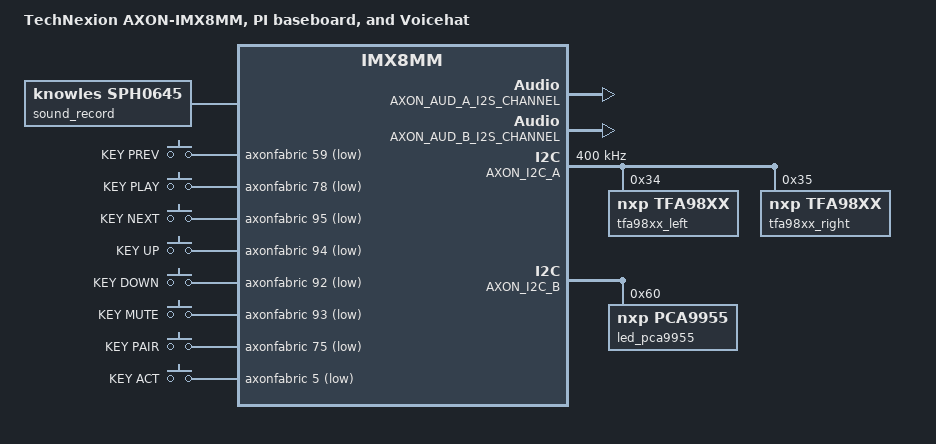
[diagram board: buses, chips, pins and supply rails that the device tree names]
/*
 * Copyright 2018 TechNexion Ltd.
 * Copyright 2018 NXP
 *
 * Author: Richard Hu <richard.hu@technexion.com>
 *         Ray Chang <ray.chang@technexion.com>
 *         John Weber <john.weber@technexion.com>
 *
 * This program is free software; you can redistribute it and/or
 * modify it under the terms of the GNU General Public License
 * as published by the Free Software Foundation; either version 2
 * of the License, or (at your option) any later version.
 *
 * This program is distributed in the hope that it will be useful,
 * but WITHOUT ANY WARRANTY; without even the implied warranty of
 * MERCHANTABILITY or FITNESS FOR A PARTICULAR PURPOSE.  See the
 * GNU General Public License for more details.
 */

#include <dt-bindings/input/input.h>
#include "imx8mm-axon-pi.dts"

/ {

	model = "TechNexion AXON-IMX8MM, PI baseboard, and Voicehat";
	compatible = "fsl,imx8mm-axon", "fsl,imx8mm";

	sound-tfa9912 {
		compatible = "nxp,imx-audio-tfa98xx", "nxp,imx-tfa98xx";
		nxp,model = "TFA9912";
		cpu-dai = <&AXON_AUD_A_I2S_CHANNEL>;
		ssi-controller = <&AXON_AUD_A_I2S_CHANNEL>;
		nxp,audio-codec = <&tfa98xx_left &tfa98xx_right>;
		clocks = <AXON_AUD_A_CLK_SRC>;
		nxp,audio-routing =
			"Speaker", "OUTL",
			"DMIC1", "Mic",
			"DMIC2", "Mic",
			"DMIC3", "Mic",
			"DMIC4", "Mic";
	};

	sound-sph0645 {
		compatible = "nxp,imx-audio-sph0645", "nxp,imx-sph0645";
		nxp,model = "SPH0645";
		cpu-dai = <&AXON_AUD_B_I2S_CHANNEL>;
		ssi-controller = <&AXON_AUD_B_I2S_CHANNEL>;
		nxp,audio-codec = <&sound_record>;
		clocks = <AXON_AUD_B_CLK_SRC>;
	};

	sound_record: codec {
		compatible = "knowles,sph0645";
	};

	leds {
		status = "disabled";
	};

	voicehat_keys {
		compatible = "gpio-keys-polled";
		poll-interval = <100>;
		autorepeat;

		prev {
			gpios = <&axonfabric 59 GPIO_ACTIVE_LOW>;
			label = "KEY PREV";
			linux,code = <KEY_PREVIOUS>;
		};

		play {
			gpios = <&axonfabric 78 GPIO_ACTIVE_LOW>;
			label = "KEY PLAY";
			linux,code = <KEY_PLAY>;
		};

		next {
			gpios = <&axonfabric 95 GPIO_ACTIVE_LOW>;
			label = "KEY NEXT";
			linux,code = <KEY_NEXT>;
		};

		up {
			gpios = <&axonfabric 94 GPIO_ACTIVE_LOW>;
			label = "KEY UP";
			linux,code = <KEY_UP>;
		};

		down {
			gpios = <&axonfabric 92 GPIO_ACTIVE_LOW>;
			label = "KEY DOWN";
			linux,code = <KEY_DOWN>;
		};

		mute {
			gpios = <&axonfabric 93 GPIO_ACTIVE_LOW>;
			label = "KEY MUTE";
			linux,code = <KEY_MUTE>;
		};

		pair {
			gpios = <&axonfabric 75 GPIO_ACTIVE_LOW>;
			label = "KEY PAIR";
			linux,code = <KEY_SELECT>;
		};

		act {
			gpios = <&axonfabric 5 GPIO_ACTIVE_LOW>;
			label = "KEY ACT";
			linux,code = <KEY_OK>;
		};
	};
};

&iomuxc {
	pinctrl-names = "default";

	imx8mm-axon {
		pinctrl_tfa98xx: tfa98xx_ctrlgrp {
			fsl,pins = <
				PINCTRL_AXON_EXT_GPIO_SPI_A_SCLK	0x19 /* RST */
				PINCTRL_AXON_EXT_GPIO_SPI_A_MISO	0x19 /* INT */
			>;
		};
	};
};

&pinmux_axonfabric {
	/delete-node/ pinctrl_af_uart_a_rtscts;
	/delete-node/ pinctrl_af_pwm_x1_x2;
	/delete-node/ pinctrl_af_can_gpio;
	/delete-node/ pinctrl_af_spi_a_out;
	/delete-node/ pinctrl_af_spi_a_in;

	pinctrl_af_gpiokeys: pcgpiokey {
		pins = "F_UART_A_CTS", "F_PWM_X2_P79", "F_CAN_B_RX", "F_CAN_B_TX",
				"F_CAN_A_TX", "F_CAN_A_RX", "F_SPI_A_CS0", "F_GPIO_X1_P76";
		function = "gpio"; drive-push-pull;
	};

	pinctrl_af_tfa98xx_rst: tfa98xx_rst {
		pins = "F_SPI_A_SCLK";
		function = "passthru_out"; drive-push-pull;
	};

	pinctrl_af_tfa98xx_int: tfa98xx_int {
		pins = "F_SPI_A_MISO";
		function = "passthru_in"; drive-push-pull;
	};

	pinctrl_af_sai1_out: sai1_out {
		pins = "F_AUD_A_TXD", "F_AUD_A_TXFS", "F_AUD_A_TXCLK";
		function = "passthru_out"; drive-push-pull;
	};

	pinctrl_af_sai1_in: sai1_in {
		pins = "F_AUD_A_RXD";
		function = "passthru_in"; drive-push-pull;
	};

	pinctrl_af_sai5_out: sai5_out {
		pins = "F_AUD_B_TXD", "F_AUD_B_TXFS", "F_AUD_B_TXCLK";
		function = "passthru_out"; drive-push-pull;
	};

	pinctrl_af_sai5_in: sai5_in {
		pins = "F_AUD_B_RXD";
		function = "passthru_in"; drive-push-pull;
	};
};

&AXON_AUD_A_I2S_CHANNEL {
	status = "okay";
};

&AXON_AUD_B_I2S_CHANNEL {
	status = "okay";
};

&AXON_SPI_A {
	status = "disabled";
};

&pwm2 {
	status = "disabled";
};

&pwm3 {
	status = "disabled";
};

&AXON_I2C_A {
	clock-frequency = <400000>;
	tfa98xx_left: tfa98xx_left@34 {
		compatible = "nxp,tfa98xx";
		pinctrl-names = "default";
		pinctrl-0 = <&pinctrl_tfa98xx>;
		pcm_sample_format = <0>;
		reg = <0x34>;
		reset-gpio = <AXON_EXT_GPIO_SPI_A_SCLK   GPIO_ACTIVE_HIGH>;
		irq-gpio =   <AXON_EXT_GPIO_SPI_A_MISO   GPIO_ACTIVE_HIGH>;
	};

	tfa98xx_right: tfa98xx_right@35 {
		compatible = "nxp,tfa98xx";
		reg = <0x35>;
	};
};

&codec_wm8960 {
	status = "disabled";
};

&sound_wm8960 {
	status = "disabled";
};

&AXON_I2C_B {
	status = "okay";

	/* PCA9955 - 16-bit RGB LED */
	led_pca9955: pca9955@60 {
		#address-cells = <1>;
		#size-cells = <0>;
		compatible = "nxp,pca9955";
		reg = <0x60>;

		led0 {
			label = "blue0";
			linux,default-trigger = "none";
			reg = <0>;
		};

		led1 {
			label = "green0";
			linux,default-trigger = "none";
			reg = <1>;
		};

		led2 {
			label = "red0";
			linux,default-trigger = "none";
			reg = <2>;
		};

		led3 {
			label = "blue1";
			linux,default-trigger = "none";
			reg = <3>;
		};

		led4 {
			label = "green1";
			linux,default-trigger = "none";
			reg = <4>;
		};

		led5 {
			label = "red1";
			linux,default-trigger = "none";
			reg = <5>;
		};

		led6 {
			label = "blue2";
			linux,default-trigger = "none";
			reg = <6>;
		};

		led7 {
			label = "green2";
			linux,default-trigger = "none";
			reg = <7>;
		};

		led8 {
			label = "red2";
			linux,default-trigger = "none";
			reg = <8>;
		};

		led9 {
			label = "blue3";
			linux,default-trigger = "none";
			reg = <9>;
		};

		led10 {
			label = "green3";
			linux,default-trigger = "none";
			reg = <10>;
		};

		led11 {
			label = "red3";
			linux,default-trigger = "none";
			reg = <11>;
		};

		led12 {
			label = "blue4";
			linux,default-trigger = "none";
			reg = <12>;
		};

		led13 {
			label = "green4";
			linux,default-trigger = "none";
			reg = <13>;
		};

		led14 {
			label = "red4";
			linux,default-trigger = "none";
			reg = <14>;
		};

		led15 {
			label = "blue5";
			linux,default-trigger = "none";
			reg = <15>;
		};
	};
};
